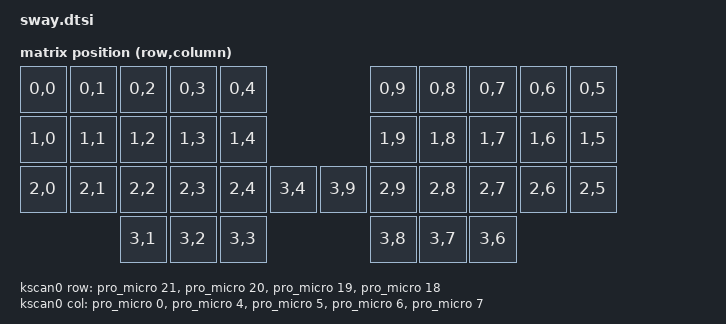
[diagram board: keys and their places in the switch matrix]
/*
 * Copyright (c) 2022 The ZMK Contributors
 *
 * SPDX-License-Identifier: MIT
 */

#include <dt-bindings/zmk/matrix_transform.h>

&pro_micro_spi {
    status = "okay";
    cs-gpios = <&pro_micro 10 GPIO_ACTIVE_LOW>;

    glidepoint: glidepoint@0 {
        compatible = "cirque,pinnacle";
        reg = <0>;
        spi-max-frequency = <1000000>;
        status = "okay";
        dr-gpios = <&pro_micro 7 (GPIO_ACTIVE_HIGH)>;

        sensitivity = "4x";
        sleep;
        no-taps;
    };
};

/ { 
    glidepoint_listener: glidepoint_listener {
        compatible = "zmk,input-listener";
        status = "disabled";
    };

    kscan0: kscan0 {
        compatible = "zmk,kscan-gpio-matrix";
        diode-direction = "col2row";
        wakeup-source;

   // cirque
    // &pro_micro 10 SS/CS

    // &pro_micro 14 MISO/SO
    // &pro_micro 16 MOSI/SI
    // &pro_micro 7  DR


    row-gpios
        = <&pro_micro 21 (GPIO_ACTIVE_HIGH | GPIO_PULL_DOWN)>
        , <&pro_micro 20 (GPIO_ACTIVE_HIGH | GPIO_PULL_DOWN)>
        , <&pro_micro 19 (GPIO_ACTIVE_HIGH | GPIO_PULL_DOWN)>
        , <&pro_micro 18 (GPIO_ACTIVE_HIGH | GPIO_PULL_DOWN)>
        ;

    col-gpios
        = <&pro_micro  0 GPIO_ACTIVE_HIGH>
        , <&pro_micro  4 GPIO_ACTIVE_HIGH>
        , <&pro_micro  5 GPIO_ACTIVE_HIGH>
        , <&pro_micro  6 GPIO_ACTIVE_HIGH>
        , <&pro_micro  7 GPIO_ACTIVE_HIGH>
        ;

    };
    physical_layout0: physical_layout_0 { // First physical layout, use different naming for other layouts
        compatible = "zmk,physical-layout";
        display-name = "Default Layout";
        kscan = <&kscan0>; // Label of the kscan node, optional if all layouts use the same
        transform = <&default_transform>; // Label of the matrix transform for this layout
    };

    chosen {
        zmk,physical-layout = &physical_layout0;
        // Other chosen items
    };

    default_transform: keymap_transform_0 {
        compatible = "zmk,matrix-transform";
        columns = <10>;
        rows = <4>;
        map = <

            RC(0,0) RC(0,1) RC(0,2) RC(0,3) RC(0,4)                     RC(0,9) RC(0,8) RC(0,7) RC(0,6) RC(0,5)
            RC(1,0) RC(1,1) RC(1,2) RC(1,3) RC(1,4)                     RC(1,9) RC(1,8) RC(1,7) RC(1,6) RC(1,5)
            RC(2,0) RC(2,1) RC(2,2) RC(2,3) RC(2,4) RC(3,4)     RC(3,9) RC(2,9) RC(2,8) RC(2,7) RC(2,6) RC(2,5)
                            RC(3,1) RC(3,2) RC(3,3)                     RC(3,8) RC(3,7) RC(3,6)
        >;
    };

    left_encoder1: left_encoder {
        compatible = "alps,ec11";
        // higher number means more scrolling
        steps = <3>; 
        status = "disabled";
    };

    right_encoder1: right_encoder1 {
        compatible = "alps,ec11";
        // higher number means more scrolling
        steps = <3>; 
        status = "disabled";
    };

    sensors: sensors {
        compatible = "zmk,keymap-sensors";
        sensors = <&left_encoder1 &right_encoder1>;
        triggers-per-rotation = <1>;
    };
};
